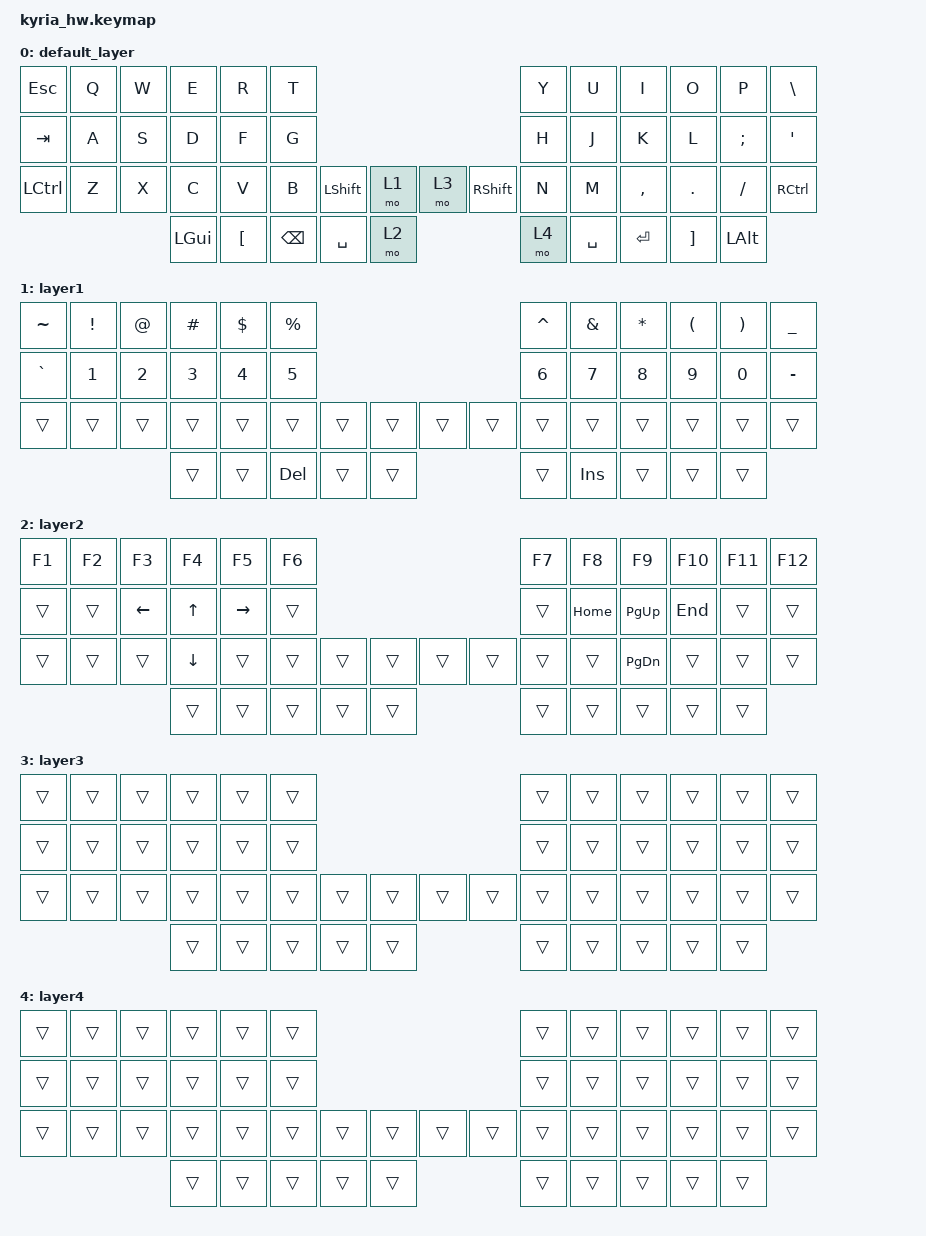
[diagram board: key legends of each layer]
/*
 * Copyright (c) 2020 The ZMK Contributors
 *
 * SPDX-License-Identifier: MIT
 */

#include <behaviors.dtsi>
#include <dt-bindings/zmk/keys.h>

/ {
    keymap {
        compatible = "zmk,keymap";

        default_layer {
// ---------------------------------------------------------------------------------------------------------------------------------
// |  ESC  |  Q  |  W  |  E   |  R   |  T   |                                          |  Y   |   U   |   I   |  O   |   P   | \ |  |
// |  TAB  |  A  |  S  |  D   |  F   |  G   |                                          |  H   |   J   |   K   |  L   |  ; :  | ' "  |
// |  CTRL |  Z  |  X  |  C   |  V   |  B   | L SHIFT | LAYER 1 |  | LAYER 3 | R SHIFT |  N   |   M   |  , <  | . >  |  / ?  | CTRL |
//                     | SUP  |  [   | BKSP |  SPACE  | LAYER 2 |  | LAYER 4 |  SPACE  | RET  |   ]   |  DEL  |
            bindings = <
    &kp ESC   &kp Q &kp W    &kp E    &kp R    &kp T                                     &kp Y   &kp U    &kp I     &kp O   &kp P    &kp BSLH
    &kp TAB   &kp A &kp S    &kp D    &kp F    &kp G                                     &kp H   &kp J    &kp K     &kp L   &kp SEMI &kp SQT
    &kp LCTRL &kp Z &kp X    &kp C    &kp V    &kp B     &kp LSHFT &mo 1 &mo 3 &kp RSHFT &kp N   &kp M    &kp COMMA &kp DOT &kp FSLH &kp RCTRL
                             &kp LGUI &kp LEFT_BRACKET &kp BSPC  &kp SPACE &mo 2 &mo 4 &kp SPACE &kp RET &kp RIGHT_BRACKET &kp LALT
            >;
        };
        layer1 {
// ---------------------------------------------------------------------------------------------------------------------------------
// |   ~   |  !   |  @   |  #   |  $   |  %   |                                         |  ^   |  &   |  *   |  (   |  )   |  _   |
// |   `   |  1   |  2   |  3   |  4   |  5   |                                         |  6   |  7   |  8   |  9   |  0   |  -   |
// |       |      |      |      |      |      |      |      |      |      |      |      |      |      |      |      |      |      |
//                       |      |      |      |      |      |      |      |      |      |      |      |      |
            bindings = <
    &kp TILDE &kp EXCL &kp AT &kp HASH &kp DLLR &kp PRCNT                              &kp CARET &kp AMPS &kp STAR &kp LPAR &kp RPAR &kp UNDER
    &kp GRAVE &kp N1   &kp N2 &kp N3   &kp N4   &kp N5                                 &kp N6    &kp N7   &kp N8   &kp N9   &kp N0   &kp MINUS
    &trans    &trans   &trans &trans   &trans   &trans    &trans &trans &trans &trans  &trans    &trans   &trans   &trans   &trans   &trans
                              &trans   &trans   &kp DEL   &trans &trans &trans &kp INS &trans    &trans   &trans
            >;
        };
        layer2 {
            bindings = <
    &kp F1 &kp F2 &kp F3   &kp F4   &kp F5    &kp F6                             &kp F7 &kp F8   &kp F9    &kp F10 &kp F11 &kp F12
    &trans &trans &kp LEFT &kp UP   &kp RIGHT &trans                             &trans &kp HOME &kp PG_UP &kp END &trans  &trans
    &trans &trans &trans   &kp DOWN &trans    &trans &trans &trans &trans &trans &trans &trans   &kp PG_DN &trans  &trans  &trans
                           &trans   &trans    &trans &trans &trans &trans &trans &trans &trans   &trans
            >;
        };
        layer3 {
            bindings = <
    &trans &trans &trans &trans &trans &trans                             &trans &trans &trans &trans &trans &trans
    &trans &trans &trans &trans &trans &trans                             &trans &trans &trans &trans &trans &trans
    &trans &trans &trans &trans &trans &trans &trans &trans &trans &trans &trans &trans &trans &trans &trans &trans
                         &trans &trans &trans &trans &trans &trans &trans &trans &trans &trans
            >;
        };
        layer4 {
            bindings = <
    &trans &trans &trans &trans &trans &trans                             &trans &trans &trans &trans &trans &trans
    &trans &trans &trans &trans &trans &trans                             &trans &trans &trans &trans &trans &trans
    &trans &trans &trans &trans &trans &trans &trans &trans &trans &trans &trans &trans &trans &trans &trans &trans
                         &trans &trans &trans &trans &trans &trans &trans &trans &trans &trans
            >;
        };
    };
};
